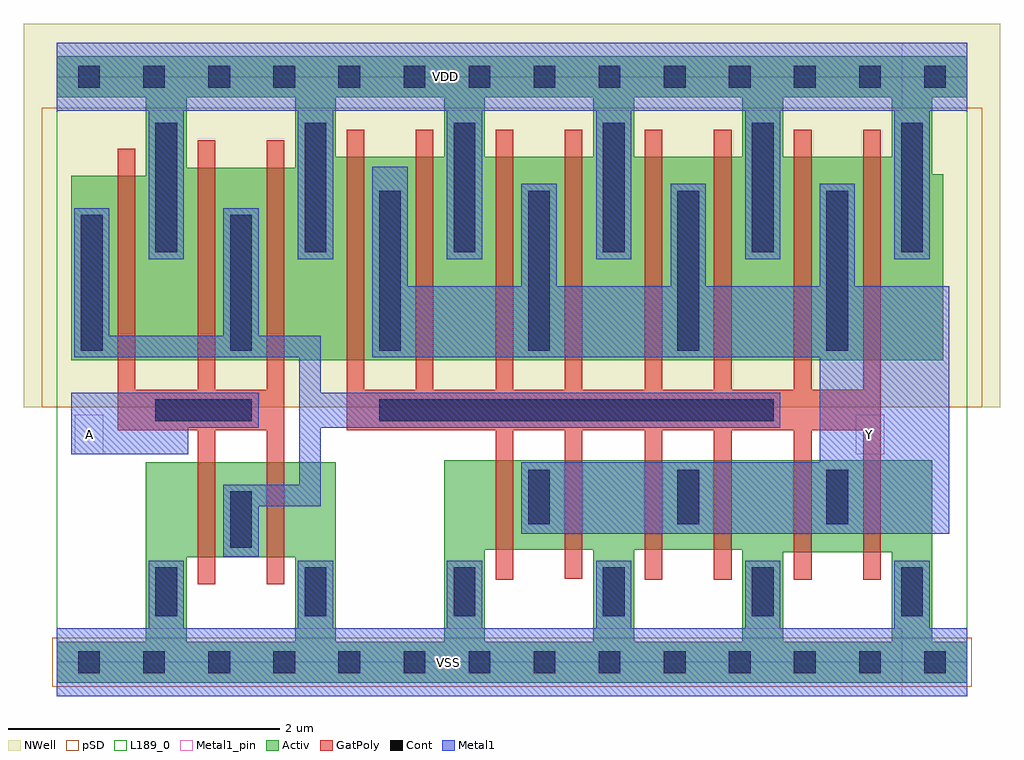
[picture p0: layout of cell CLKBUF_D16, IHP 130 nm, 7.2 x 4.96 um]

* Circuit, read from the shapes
.subckt CLKBUF_D16 A VDD VSS Y
XM1 n1 A VSS VSS sg13_lv_nmos w=0.7u l=0.13u m=2
XM2 Y n1 VSS VSS sg13_lv_nmos w=0.66u l=0.13u m=4
XM3 Y n1 VSS VSS sg13_lv_nmos w=0.68u l=0.13u m=2
XM4 VDD A n1 VDD sg13_lv_pmos w=1.36u l=0.13u
XM5 n1 A VDD VDD sg13_lv_pmos w=1.42u l=0.13u m=2
XM6 Y n1 VDD VDD sg13_lv_pmos w=1.5u l=0.13u m=8
.ends

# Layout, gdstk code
import gdstk
lib = gdstk.Library(unit=1e-6, precision=1e-09)
def R(c, l, rs):  # rectangles x0, y0, x1, y1
    for r in rs: c.add(gdstk.rectangle(r[:2], r[2:], *l))
def A(c, l, x, y, w, h, nx, ny, dx, dy):  # array of equal rectangles
    R(c, l, [(x+i*dx, y+j*dy, x+i*dx+w, y+j*dy+h) for i in range(nx) for j in range(ny)])
def P(c, l, *ps):  # polygons
    for p in ps: c.add(gdstk.Polygon(p, *l))
Activ = (1, 0)
GatPoly = (5, 0)
Cont = (6, 0)
Metal1 = (8, 0)
Metal1_pin = (8, 2)
pSD = (14, 0)
NWell = (31, 0)
L189_0 = (189, 0)

clkbuf_d16 = lib.new_cell('CLKBUF_D16')
P(clkbuf_d16, Activ, [(0,-0.15),(0,0.15),(0.66,0.15),(0.96,0.15),(1.76,0.15),(1.76,0.775),(0.96,0.775),(0.96,0.15),(0.66,0.15),(0.66,1.475),(2.06,1.475),(2.06,0.15),(2.86,0.15),(3.16,0.15),(3.96,0.15),(4.26,0.15),(5.06,0.15),(5.36,0.15),(6.16,0.15),(6.16,0.81),(5.36,0.81),(5.36,0.15),(5.06,0.15),(5.06,0.83),(4.26,0.83),(4.26,0.15),(3.96,0.15),(3.96,0.83),(3.16,0.83),(3.16,0.15),(2.86,0.15),(2.86,1.49),(6.46,1.49),(6.46,0.15),(6.72,0.15),(6.72,-0.15)],
  [(0.11,2.23),(0.11,3.59),(0.66,3.59),(0.96,3.59),(0.96,3.65),(1.76,3.65),(1.76,3.73),(2.06,3.73),(2.86,3.73),(3.16,3.73),(3.96,3.73),(4.26,3.73),(5.06,3.73),(5.36,3.73),(6.16,3.73),(6.16,4.17),(5.36,4.17),(5.36,3.73),(5.06,3.73),(5.06,4.17),(4.26,4.17),(4.26,3.73),(3.96,3.73),(3.96,4.17),(3.16,4.17),(3.16,3.73),(2.86,3.73),(2.86,4.17),(2.06,4.17),(2.06,3.73),(1.76,3.73),(1.76,4.17),(0.96,4.17),(0.96,3.59),(0.66,3.59),(0.66,4.17),(0,4.17),(0,4.47),(6.72,4.47),(6.72,4.17),(6.46,4.17),(6.46,3.6),(6.54,3.6),(6.54,2.23)])
P(clkbuf_d16, GatPoly, [(1.04,0.575),(1.04,1.71),(0.45,1.71),(0.45,3.79),(0.58,3.79),(0.58,2.01),(1.04,2.01),(1.04,3.85),(1.17,3.85),(1.17,2.01),(1.55,2.01),(1.55,3.85),(1.68,3.85),(1.68,0.575),(1.55,0.575),(1.55,1.71),(1.17,1.71),(1.17,0.575)],
  [(3.24,0.61),(3.24,1.71),(2.14,1.71),(2.14,3.93),(2.27,3.93),(2.27,2.01),(2.65,2.01),(2.65,3.93),(2.78,3.93),(2.78,2.01),(3.24,2.01),(3.24,3.93),(3.37,3.93),(3.37,2.01),(3.75,2.01),(3.75,3.93),(3.88,3.93),(3.88,2.01),(4.34,2.01),(4.34,3.93),(4.47,3.93),(4.47,2.01),(4.85,2.01),(4.85,3.93),(4.98,3.93),(4.98,2.01),(5.44,2.01),(5.44,3.93),(5.57,3.93),(5.57,2.01),(5.95,2.01),(5.95,3.93),(6.08,3.93),(6.08,0.61),(5.95,0.61),(5.95,1.71),(5.57,1.71),(5.57,0.61),(5.44,0.61),(5.44,1.71),(4.98,1.71),(4.98,0.61),(4.85,0.61),(4.85,1.71),(4.47,1.71),(4.47,0.61),(4.34,0.61),(4.34,1.71),(3.88,1.71),(3.88,0.615),(3.75,0.615),(3.75,1.71),(3.37,1.71),(3.37,0.61)])
A(clkbuf_d16, Cont, 0.16, -0.08, 0.16, 0.16, 14, 2, 0.48, 4.32)
A(clkbuf_d16, Cont, 0.73, 0.34, 0.16, 0.36, 6, 1, 1.1, 0)
A(clkbuf_d16, Cont, 3.48, 1.02, 0.16, 0.4, 3, 1, 1.1, 0)
A(clkbuf_d16, Cont, 2.38, 2.3, 0.16, 1.18, 4, 1, 1.1, 0)
A(clkbuf_d16, Cont, 0.73, 3.025, 0.16, 0.955, 6, 1, 1.1, 0)
R(clkbuf_d16, Cont, [(1.28,0.845,1.44,1.26), (0.73,1.78,1.44,1.94), (2.38,1.78,5.29,1.94), (0.18,2.3,0.34,3.3), (1.28,2.3,1.44,3.3)])
A(clkbuf_d16, Metal1, 0.68, 2.975, 0.26, 1.095, 3, 1, 1.1, 0)
R(clkbuf_d16, Metal1, [(5.08,2.975,5.34,4.07)])
P(clkbuf_d16, Metal1, [(1.23,0.78),(1.23,1.31),(1.79,1.31),(1.79,2.25),(0.13,2.25),(0.13,3.35),(0.39,3.35),(0.39,2.41),(1.23,2.41),(1.23,3.35),(1.49,3.35),(1.49,2.41),(1.95,2.41),(1.95,1.99),(5.34,1.99),(5.34,1.73),(1.95,1.73),(1.95,1.15),(1.49,1.15),(1.49,0.78)],
  [(0.11,1.535),(0.11,1.99),(1.49,1.99),(1.49,1.73),(0.97,1.73),(0.97,1.535)],
  [(3.98,2.975),(3.98,4.07),(0,4.07),(0,4.57),(6.72,4.57),(6.72,4.07),(6.44,4.07),(6.44,2.975),(6.18,2.975),(6.18,4.07),(4.24,4.07),(4.24,2.975)],
  [(3.43,0.95),(3.43,1.475),(5.63,1.475),(5.63,2.25),(2.33,2.25),(2.33,3.655),(2.59,3.655),(2.59,2.775),(3.43,2.775),(3.43,3.53),(3.69,3.53),(3.69,2.775),(4.53,2.775),(4.53,3.53),(4.79,3.53),(4.79,2.775),(5.63,2.775),(5.63,3.53),(5.89,3.53),(5.89,2.775),(6.585,2.775),(6.585,0.95)],
  [(0,-0.25),(0,0.25),(0.68,0.25),(0.68,0.75),(0.94,0.75),(0.94,0.25),(1.78,0.25),(1.78,0.75),(2.04,0.75),(2.04,0.25),(2.88,0.25),(2.88,0.75),(3.14,0.75),(3.14,0.25),(3.98,0.25),(3.98,0.75),(4.24,0.75),(4.24,0.25),(5.08,0.25),(5.08,0.75),(5.34,0.75),(5.34,0.25),(6.18,0.25),(6.18,0.75),(6.44,0.75),(6.44,0.25),(6.72,0.25),(6.72,-0.25)])
R(clkbuf_d16, Metal1_pin, [(0,-0.25,6.24,0.25), (0.135,1.535,0.345,1.825), (5.895,1.535,6.105,1.825), (0,4.07,6.24,4.57)])
R(clkbuf_d16, pSD, [(-0.03,-0.18,6.75,0.18), (-0.11,1.88,6.83,4.09)])
R(clkbuf_d16, NWell, [(-0.24,1.88,6.96,4.71)])
R(clkbuf_d16, L189_0, [(0,0,6.72,4.32)])
clkbuf_d16.add(gdstk.Label('A', (0.24,1.68), layer=8, texttype=25))
clkbuf_d16.add(gdstk.Label('Y', (6,1.68), layer=8, texttype=25))
clkbuf_d16.add(gdstk.Label('VSS', (2.89,0), layer=8, texttype=25))
clkbuf_d16.add(gdstk.Label('VDD', (2.87,4.32), layer=8, texttype=25))

lib.write_gds('CLKBUF_D16.gds')
